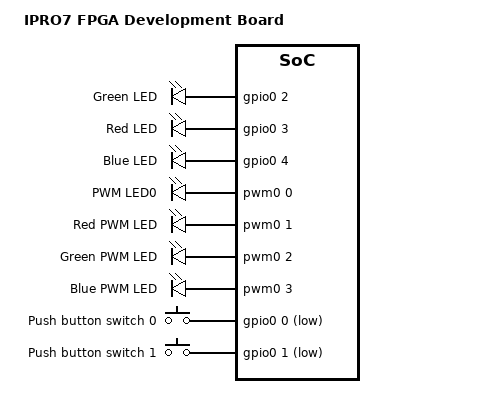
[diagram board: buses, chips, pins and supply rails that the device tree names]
/*
 * Copyright (c) 2025 IPRO
 * SPDX-License-Identifier: Apache-2.0
 */

/dts-v1/;

#include "ipro7.dts"

/ {
	model = "IPRO7 FPGA Development Board";
	compatible = "ipro,ipro7-fpga";

	aliases {
		led0 = &led0;
		led1 = &led1; 
		led2 = &led2;
		sw0 = &button0;
		sw1 = &button1;
		pwm-led0 = &pwm_led0;
		red-pwm-led = &red_pwm_led;
		green-pwm-led = &green_pwm_led;
		blue-pwm-led = &blue_pwm_led;
		spi-flash0 = &spi0;
		i2c-0 = &i2c0;
	};

	leds {
		compatible = "gpio-leds";
		led0: led_0 {
			gpios = <&gpio0 2 GPIO_ACTIVE_HIGH>;
			label = "Green LED";
		};
		led1: led_1 {
			gpios = <&gpio0 3 GPIO_ACTIVE_HIGH>;
			label = "Red LED";
		};
		led2: led_2 {
			gpios = <&gpio0 4 GPIO_ACTIVE_HIGH>;
			label = "Blue LED";
		};
	};

	pwmleds {
		compatible = "pwm-leds";
		pwm_led0: pwm_led_0 {
			pwms = <&pwm0 0 PWM_MSEC(20) PWM_POLARITY_NORMAL>;
			label = "PWM LED0";
		};
		red_pwm_led: red_pwm_led {
			pwms = <&pwm0 1 PWM_MSEC(20) PWM_POLARITY_NORMAL>;
			label = "Red PWM LED";
		};
		green_pwm_led: green_pwm_led {
			pwms = <&pwm0 2 PWM_MSEC(20) PWM_POLARITY_NORMAL>;
			label = "Green PWM LED";
		};
		blue_pwm_led: blue_pwm_led {
			pwms = <&pwm0 3 PWM_MSEC(20) PWM_POLARITY_NORMAL>;
			label = "Blue PWM LED";
		};
	};

	gpio_keys {
		compatible = "gpio-keys";
		button0: button_0 {
			gpios = <&gpio0 0 (GPIO_PULL_UP | GPIO_ACTIVE_LOW)>;
			label = "Push button switch 0";
		};
		button1: button_1 {
			gpios = <&gpio0 1 (GPIO_PULL_UP | GPIO_ACTIVE_LOW)>;
			label = "Push button switch 1";
		};
	};
};

/* FPGA uses 32MHz clock for UART (not 100MHz like EVB) */
&uart0 {
	clock-frequency = <32000000>;
};
